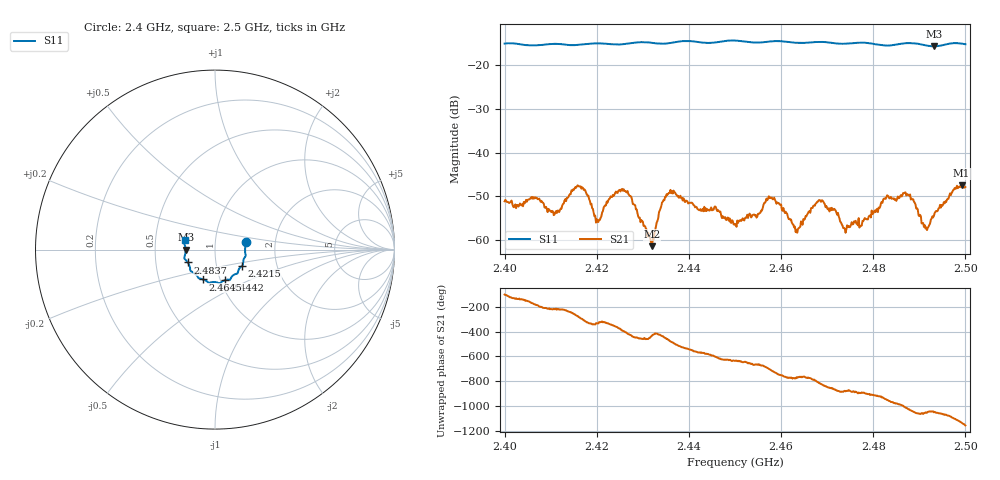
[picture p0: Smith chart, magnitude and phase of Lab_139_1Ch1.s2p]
# Hz S RI R 50
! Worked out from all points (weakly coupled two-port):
!   601 points, 2.4 GHz to 2.5 GHz, reference 50 ohm
!   highest |S21| = -47.52 dB at 2.4992 GHz (marker M1); lowest = -61.4 dB at 2.432 GHz (marker M2)
!   lowest |S11| = -15.7 dB at 2.4932 GHz (marker M3), VSWR 1.39, Z = 35.9 - j0.0484 ohm
!   |S11| at or under -10 dB: start of sweep to end of sweep
!   S12 and S22 are empty: the file has one direction only
!   S11 on the Smith chart (normalised r, x): 2.4 GHz: 1.41, +0.12; 2.4215 GHz: 1.33, -0.25; 2.4442 GHz: 1.05, -0.37; 2.4645 GHz: 0.83, -0.29; 2.4837 GHz: 0.73, -0.11; 2.5 GHz: 0.71, +0.07
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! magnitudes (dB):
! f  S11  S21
! 2.4 GHz  -15.1  -51.2
! 2.4112 GHz  -15.2  -53.4
! 2.4167 GHz  -15.3  -48.2
! 2.42 GHz  -15.0  -55.2
! 2.4215 GHz  -15.1  -52.6
! 2.4263 GHz  -15.2  -49.0
! 2.432 GHz  -14.9  -61.4
! 2.4333 GHz  -15.1  -55.1
! 2.4362 GHz  -14.9  -49.3
! 2.4442 GHz  -15.0  -53.2
! 2.45 GHz  -14.4  -56.3
! 2.4577 GHz  -14.6  -50.2
! 2.4645 GHz  -15.0  -56.0
! 2.4667 GHz  -14.8  -52.7
! 2.474 GHz  -15.1  -58.4
! 2.4833 GHz  -15.6  -50.1
! 2.4837 GHz  -15.5  -50.4
! 2.4875 GHz  -15.0  -49.6
! 2.4915 GHz  -15.5  -57.1
! 2.4932 GHz  -15.7  -54.4
! 2.4992 GHz  -15.1  -47.5
! 2.5 GHz  -15.3  -47.9
